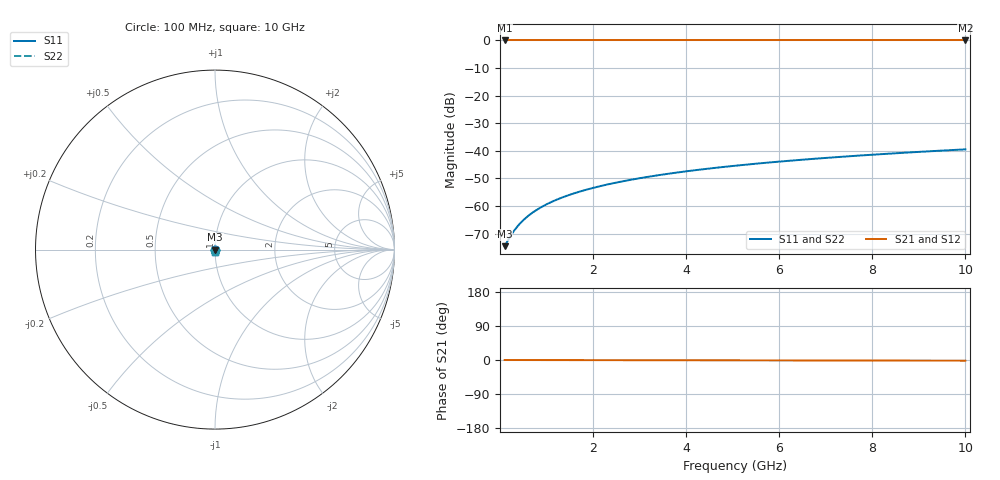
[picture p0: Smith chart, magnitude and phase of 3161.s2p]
# Hz S RI R 50.00
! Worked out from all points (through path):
!   100 points, 100 MHz to 10 GHz, reference 50 ohm
!   highest |S21| = 0.00 dB at 100 MHz (marker M1); lowest = 0.0 dB at 10 GHz (marker M2)
!   lowest |S11| = -74.5 dB at 100 MHz (marker M3), VSWR 1.00, Z = 50 - j0.0106 ohm
!   |S11| at or under -10 dB: start of sweep to end of sweep
!   |S22| runs from -74.5 to -39.5 dB; largest |S21 - S12| = 0
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1e8  0.000155 -0.000106  0.9998 -0.000307  0.9998 -0.000307  0.000155 -0.000106
2e8  0.000155 -0.000212  0.9998 -0.000613  0.9998 -0.000613  0.000155 -0.000212
3e8  0.000156 -0.000319  0.9998 -0.00092  0.9998 -0.00092  0.000156 -0.000319
4e8  0.000156 -0.000425  0.9998 -0.00123  0.9998 -0.00123  0.000156 -0.000425
5e8  0.000156 -0.000531  0.9998 -0.00153  0.9998 -0.00153  0.000156 -0.000531
6e8  0.000156 -0.000637  0.9998 -0.00184  0.9998 -0.00184  0.000156 -0.000637
7e8  0.000156 -0.000744  0.9998 -0.00215  0.9998 -0.00215  0.000156 -0.000744
9e8  0.000155 -0.000956  0.9998 -0.00276  0.9998 -0.00276  0.000155 -0.000956
1e9  0.000155 -0.00106  0.9998 -0.00307  0.9998 -0.00307  0.000155 -0.00106
1.2e9  0.000153 -0.00128  0.9998 -0.00368  0.9998 -0.00368  0.000153 -0.00128
1.5e9  0.000151 -0.00159  0.9998 -0.0046  0.9998 -0.0046  0.000151 -0.00159
1.8e9  0.000148 -0.00191  0.9998 -0.00552  0.9998 -0.00552  0.000148 -0.00191
2.1e9  0.000144 -0.00223  0.9998 -0.00644  0.9998 -0.00644  0.000144 -0.00223
2.5e9  0.000139 -0.00266  0.9998 -0.00767  0.9998 -0.00767  0.000139 -0.00266
2.9e9  0.000132 -0.00308  0.9998 -0.00889  0.9998 -0.00889  0.000132 -0.00308
3.4e9  0.000122 -0.00361  0.9998 -0.0104  0.9998 -0.0104  0.000122 -0.00361
4.2e9  0.000102 -0.00446  0.9997 -0.0129  0.9997 -0.0129  0.000102 -0.00446
5.1e9  7.46e-05 -0.00542  0.9997 -0.0156  0.9997 -0.0156  7.46e-05 -0.00542
5.9e9  4.59e-05 -0.00627  0.9996 -0.0181  0.9996 -0.0181  4.59e-05 -0.00627
6.7e9  1.3e-05 -0.00712  0.9996 -0.0206  0.9996 -0.0206  1.3e-05 -0.00712
8.4e9  -7.08e-05 -0.00894  0.9994 -0.0258  0.9994 -0.0258  -7.08e-05 -0.00894
1e10  -0.000167 -0.0106  0.9993 -0.0307  0.9993 -0.0307  -0.000167 -0.0106
